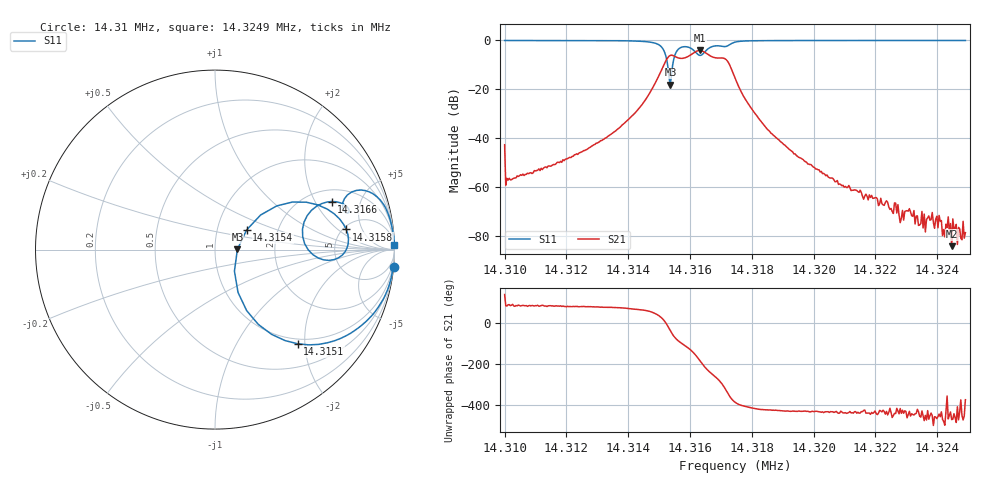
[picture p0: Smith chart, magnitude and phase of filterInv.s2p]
# HZ S RI R 50
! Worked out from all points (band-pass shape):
!   404 points, 14.31 MHz to 14.3249 MHz, reference 50 ohm
!   highest |S21| = -4.10 dB at 14.3163 MHz (marker M1); lowest = -84.1 dB at 14.3245 MHz (marker M2)
!   |S21| within 3 dB of the highest: 14.31528 MHz to 14.31561 MHz (332 Hz wide, 0.00232 % of centre); 14.31584 MHz to 14.31682 MHz (985.7 Hz wide, 0.00689 % of centre)
!   lowest |S11| = -18.1 dB at 14.3154 MHz (marker M3), VSWR 1.29, Z = 64.3 + j0.156 ohm
!   |S11| at or under -10 dB: 14.31527 MHz to 14.31544 MHz (163.8 Hz wide, 0.00114 % of centre)
!   S12 and S22 are empty: the file has one direction only
!   S11 on the Smith chart (normalised r, x): 14.31 MHz: -0, -21; 14.3151 MHz: 0.91, -1.85; 14.3154 MHz: 1.39, +0.32; 14.3158 MHz: 5.34, +2.65; 14.3166 MHz: 2.60, +2.76; 14.3249 MHz: 3, +77
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1.431e7  0.9955 -0.0957  -0.00533 0.0051  0 0  0 0
1.431011e7  0.9934 -0.0935  9.71e-05 0.00139  0 0  0 0
1.431252e7  0.9839 -0.1471  0.00113 0.0052  0 0  0 0
1.431411e7  0.9386 -0.2738  0.0112 0.0257  0 0  0 0
1.4315e7  0.6266 -0.519  0.1607 0.1043  0 0  0 0
1.431511e7  0.461 -0.5247  0.2575 0.0882  0 0  0 0
1.431536e7  0.1248 0.00119  0.3767 -0.3217  0 0  0 0
1.43154e7  0.1762 0.1095  0.3205 -0.3837  0 0  0 0
1.431555e7  0.5092 0.2641  0.0817 -0.4505  0 0  0 0
1.431577e7  0.7313 0.1122  -0.1187 -0.4152  0 0  0 0
1.43161e7  0.6361 -0.0601  -0.4557 -0.3076  0 0  0 0
1.431633e7  0.4887 0.0716  -0.6187 0.0817  0 0  0 0
1.431662e7  0.6497 0.268  -0.2536 0.4276  0 0  0 0
1.431714e7  0.7113 0.239  0.3357 0.2505  0 0  0 0
1.431747e7  0.876 0.3136  0.1378 -0.08  0 0  0 0
1.431847e7  0.979 0.1537  0.00666 -0.0146  0 0  0 0
1.431995e7  0.9934 0.0855  0.000841 -0.00259  0 0  0 0
1.432243e7  0.9976 0.0439  8.23e-05 -0.000383  0 0  0 0
1.432284e7  0.9979 0.0402  3.07e-05 -0.000231  0 0  0 0
1.432306e7  0.9976 0.0384  1.06e-05 -0.000322  0 0  0 0
1.432447e7  0.9988 0.028  -2.42e-05 -5.71e-05  0 0  0 0
1.432491e7  0.9986 0.0258  0.000113 -3.27e-05  0 0  0 0
